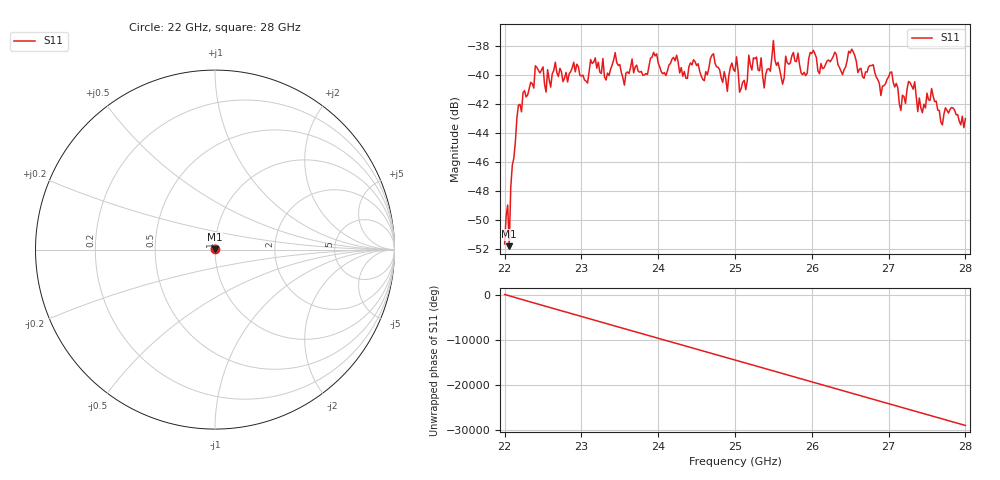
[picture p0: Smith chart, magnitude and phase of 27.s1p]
#  HZ  S  RI  R  50.00
! Rohde & Schwarz ZVA40 4Ports - Version 3.90 - 1145.1110k42 SN: 100403
! Date: 2023-10-04 10:32:16
! Measurement: S12
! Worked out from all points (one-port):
!   301 points, 22 GHz to 28 GHz, reference 50 ohm
!   lowest |S11| = -51.8 dB at 22.06 GHz (marker M1), VSWR 1.01, Z = 49.8 + j0.157 ohm
!   |S11| at or under -10 dB: start of sweep to end of sweep
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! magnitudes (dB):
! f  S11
! 22 GHz  -51.7
! 22.04 GHz  -49.0
! 22.06 GHz  -51.8
! 22.08 GHz  -47.8
! 22.18 GHz  -42.1
! 22.4 GHz  -39.4
! 22.76 GHz  -40.5
! 23.5 GHz  -39.3
! 24.26 GHz  -39.1
! 25 GHz  -39.8
! 25.14 GHz  -41.0
! 25.18 GHz  -38.7
! 25.34 GHz  -38.8
! 25.38 GHz  -40.9
! 25.5 GHz  -37.6
! 25.62 GHz  -40.7
! 25.76 GHz  -38.5
! 25.92 GHz  -40.1
! 26.02 GHz  -38.3
! 26.5 GHz  -38.5
! 26.9 GHz  -41.4
! 27.04 GHz  -39.8
! 27.16 GHz  -42.5
! 27.26 GHz  -40.5
! 27.38 GHz  -42.5
! 27.56 GHz  -41.0
! 27.7 GHz  -43.5
! 28 GHz  -43.0
